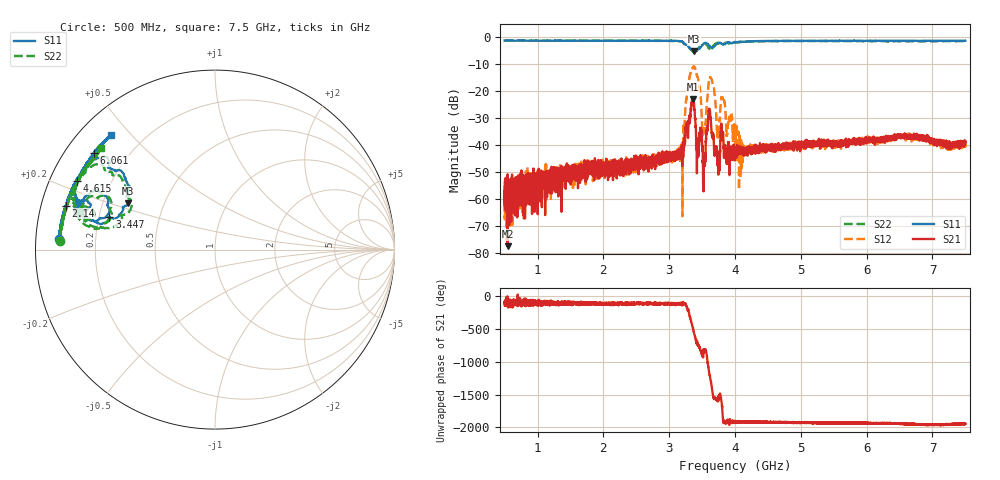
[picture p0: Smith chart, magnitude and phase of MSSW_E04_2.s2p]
!Keysight Technologies,M9374A,MY55442783,A.12.55.05
!Date: Wednesday, May 19, 2021 18:19:17
!Correction: S11(Full 2 Port(1,2))
!S21(Full 2 Port(1,2))
!S12(Full 2 Port(1,2))
!S22(Full 2 Port(1,2))
!S2P File: Measurements: S11, S21, S12, S22:
# Hz S  RI  R 50
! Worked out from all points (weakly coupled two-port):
!   7001 points, 500 MHz to 7.5 GHz, reference 50 ohm
!   highest |S21| = -22.85 dB at 3.367 GHz (marker M1); lowest = -77.5 dB at 544 MHz (marker M2)
!   lowest |S11| = -5.2 dB at 3.376 GHz (marker M3), VSWR 3.42, Z = 15.5 + j11.3 ohm
!   |S11| at or under -10 dB: nowhere
!   |S22| runs from -5.7 to -1.2 dB; largest |S21 - S12| = 0.24
!   S11 on the Smith chart (normalised r, x): 500 MHz: 0.07, +0.03; 2.14 GHz: 0.07, +0.14; 3.447 GHz: 0.24, +0.14; 4.615 GHz: 0.08, +0.23; 6.061 GHz: 0.08, +0.35; 7.5 GHz: 0.09, +0.44
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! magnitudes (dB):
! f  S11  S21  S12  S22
! 500 MHz  -1.2  -62.2  -63.0  -1.2
! 544 MHz  -1.2  -77.5  -59.9  -1.3
! 1.667 GHz  -1.2  -50.0  -48.2  -1.3
! 2.14 GHz  -1.2  -48.2  -45.6  -1.3
! 2.834 GHz  -1.3  -44.6  -44.0  -1.3
! 3.175 GHz  -1.5  -42.6  -43.6  -1.5
! 3.284 GHz  -3.1  -36.7  -18.6  -3.1
! 3.367 GHz  -5.1  -22.8  -11.0  -5.5
! 3.376 GHz  -5.2  -24.1  -10.8  -5.7
! 3.447 GHz  -4.2  -44.1  -16.6  -4.0
! 3.526 GHz  -2.3  -47.4  -34.1  -2.2
! 3.594 GHz  -2.7  -29.1  -18.5  -3.7
! 3.633 GHz  -3.8  -31.2  -15.1  -4.1
! 3.738 GHz  -2.2  -46.1  -36.1  -2.1
! 3.817 GHz  -2.7  -36.0  -22.5  -2.7
! 4 GHz  -1.7  -44.3  -36.0  -2.0
! 4.092 GHz  -1.7  -42.2  -37.4  -1.7
! 4.615 GHz  -1.3  -41.7  -40.2  -1.4
! 5.167 GHz  -1.3  -38.8  -39.9  -1.4
! 6.061 GHz  -1.3  -38.5  -38.1  -1.4
! 6.334 GHz  -1.3  -38.0  -37.8  -1.5
! 7.5 GHz  -1.3  -39.1  -38.6  -1.4
